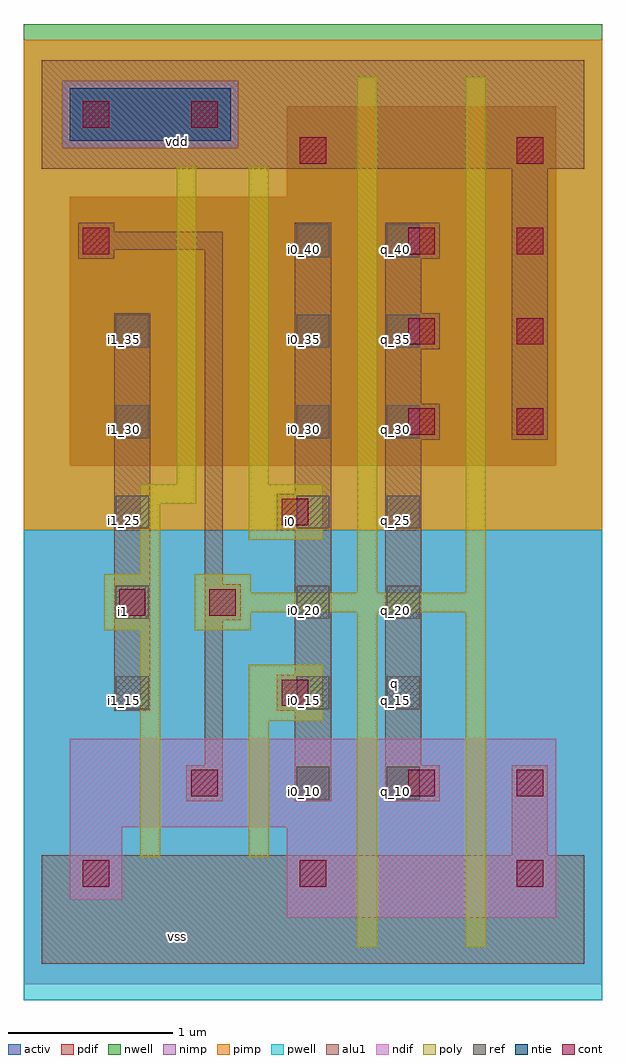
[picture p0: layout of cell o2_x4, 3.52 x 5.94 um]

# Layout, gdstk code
import gdstk
lib = gdstk.Library(unit=1e-6, precision=2.5e-09)
def R(c, l, rs):  # rectangles x0, y0, x1, y1
    for r in rs: c.add(gdstk.rectangle(r[:2], r[2:], *l))
def A(c, l, x, y, w, h, nx, ny, dx, dy):  # array of equal rectangles
    R(c, l, [(x+i*dx, y+j*dy, x+i*dx+w, y+j*dy+h) for i in range(nx) for j in range(ny)])
ndif = (3, 0)
pdif = (4, 0)
ntie = (5, 0)
ref = (24, 0)
cont = (25, 0)
pwell = (41, 0)
nwell = (42, 0)
activ = (43, 0)
pimp = (44, 0)
nimp = (45, 0)
poly = (46, 0)
alu1 = (49, 0)

o2_x4 = lib.new_cell('o2_x4')
R(o2_x4, ndif, [(1.49,0.28,3.13,0.83), (1.49,0.28,3.13,0.83), (0.17,0.39,0.49,0.83), (0.17,0.39,0.49,0.83), (0.17,0.83,3.13,1.37), (0.17,0.83,3.13,1.37)])
R(o2_x4, pdif, [(0.17,3.03,3.13,4.67), (0.17,3.03,3.13,4.67), (1.49,4.67,3.13,5.22), (1.49,4.67,3.13,5.22)])
R(o2_x4, ntie, [(0.17,5.01,1.15,5.33), (0.17,5.01,1.15,5.33)])
A(o2_x4, ref, 1.55, 1, 0.2, 0.2, 1, 7, 0, 0.55)
A(o2_x4, ref, 2.1, 1, 0.2, 0.2, 1, 7, 0, 0.55)
A(o2_x4, ref, 0.45, 1.55, 0.2, 0.2, 1, 5, 0, 0.55)
A(o2_x4, cont, 0.25, 0.47, 0.16, 0.16, 3, 1, 1.32, 0)
A(o2_x4, cont, 2.23, 3.22, 0.16, 0.16, 1, 3, 0, 0.55)
A(o2_x4, cont, 2.89, 3.22, 0.16, 0.16, 1, 4, 0, 0.55)
R(o2_x4, cont, [(0.91,1.02,1.07,1.18), (2.23,1.02,2.39,1.18), (2.89,1.02,3.05,1.18), (1.46,1.57,1.62,1.73), (0.47,2.12,0.63,2.28), (1.02,2.12,1.18,2.28), (1.46,2.67,1.62,2.83), (0.25,4.32,0.41,4.48), (1.57,4.87,1.73,5.03), (0.25,5.09,0.41,5.25), (0.91,5.09,1.07,5.25)])
R(o2_x4, pwell, [(-0.11,-0.22,3.41,2.64)])
R(o2_x4, nwell, [(-0.11,2.64,3.41,5.72)])
R(o2_x4, activ, [(1.49,0.28,3.13,0.83), (1.49,0.28,3.13,0.83), (0.17,0.39,0.49,0.83), (0.17,0.39,0.49,0.83), (0.17,0.83,3.13,1.37), (0.17,0.83,3.13,1.37), (0.17,3.03,3.13,4.67), (0.17,3.03,3.13,4.67), (1.49,4.67,3.13,5.22), (1.49,4.67,3.13,5.22), (0.17,5.01,1.15,5.33), (0.17,5.01,1.15,5.33)])
R(o2_x4, pimp, [(-0.11,2.64,3.41,4.965), (-0.11,4.965,0.125,5.375), (1.195,4.965,3.41,5.375), (-0.11,5.375,3.41,5.625)])
R(o2_x4, nimp, [(-0.11,-0.125,3.41,2.64), (0.125,4.965,1.195,5.375)])
R(o2_x4, poly, [(1.92,0.1,2.04,2.14), (2.58,0.1,2.7,2.14), (0.6,0.65,0.72,2.03), (1.26,0.65,1.38,1.48), (1.26,1.48,1.71,1.82), (0.38,2.03,0.72,2.37), (0.93,2.03,1.27,2.14), (0.93,2.14,2.7,2.26), (0.93,2.26,1.27,2.37), (1.92,2.26,2.04,5.4), (2.58,2.26,2.7,5.4), (0.6,2.37,0.72,2.8), (1.26,2.58,1.71,2.92), (0.6,2.8,0.94,2.92), (0.82,2.92,0.94,4.85), (1.26,2.92,1.38,4.85)])
A(o2_x4, alu1, 2.09, 3.19, 0.33, 0.22, 1, 3, 0, 0.55)
R(o2_x4, alu1, [(0,0,3.3,0.66), (2.86,0.66,3.08,1.21), (0.88,0.99,1.1,1.21), (1.54,0.99,1.76,1.54), (2.09,0.99,2.42,1.21), (0.99,1.21,1.1,2.09), (2.09,1.21,2.31,3.19), (0.44,1.54,0.66,3.96), (1.43,1.54,1.76,1.76), (1.54,1.76,1.76,2.64), (0.99,2.09,1.21,2.31), (0.99,2.31,1.1,4.345), (1.43,2.64,1.76,2.86), (1.54,2.86,1.76,4.51), (2.86,3.19,3.08,4.84), (2.09,3.41,2.31,3.74), (2.09,3.96,2.31,4.29), (0.22,4.29,0.44,4.345), (0.22,4.345,1.1,4.455), (0.22,4.455,0.44,4.51), (0,4.84,3.3,5.5)])
o2_x4.add(gdstk.Label('vss', (0.825,0.165), layer=49, texttype=0))
o2_x4.add(gdstk.Label('q', (2.145,1.705), layer=49, texttype=0))
o2_x4.add(gdstk.Label('i0', (1.5125,2.695), layer=49, texttype=0))
o2_x4.add(gdstk.Label('i1', (0.495,2.145), layer=49, texttype=0))
o2_x4.add(gdstk.Label('vdd', (0.825,5.005), layer=49, texttype=0))
o2_x4.add(gdstk.Label('i1_30', (0.5,3.25), layer=24, texttype=0))
o2_x4.add(gdstk.Label('i1_35', (0.5,3.8), layer=24, texttype=0))
o2_x4.add(gdstk.Label('i1_15', (0.5,1.6), layer=24, texttype=0))
o2_x4.add(gdstk.Label('i1_20', (0.5,2.15), layer=24, texttype=0))
o2_x4.add(gdstk.Label('i1_25', (0.5,2.7), layer=24, texttype=0))
o2_x4.add(gdstk.Label('i0_10', (1.6,1.05), layer=24, texttype=0))
o2_x4.add(gdstk.Label('i0_25', (1.6,2.7), layer=24, texttype=0))
o2_x4.add(gdstk.Label('i0_30', (1.6,3.25), layer=24, texttype=0))
o2_x4.add(gdstk.Label('i0_35', (1.6,3.8), layer=24, texttype=0))
o2_x4.add(gdstk.Label('i0_40', (1.6,4.35), layer=24, texttype=0))
o2_x4.add(gdstk.Label('i0_15', (1.6,1.6), layer=24, texttype=0))
o2_x4.add(gdstk.Label('i0_20', (1.6,2.15), layer=24, texttype=0))
o2_x4.add(gdstk.Label('q_15', (2.15,1.6), layer=24, texttype=0))
o2_x4.add(gdstk.Label('q_20', (2.15,2.15), layer=24, texttype=0))
o2_x4.add(gdstk.Label('q_25', (2.15,2.7), layer=24, texttype=0))
o2_x4.add(gdstk.Label('q_30', (2.15,3.25), layer=24, texttype=0))
o2_x4.add(gdstk.Label('q_35', (2.15,3.8), layer=24, texttype=0))
o2_x4.add(gdstk.Label('q_40', (2.15,4.35), layer=24, texttype=0))
o2_x4.add(gdstk.Label('q_10', (2.15,1.05), layer=24, texttype=0))

lib.write_gds('o2_x4.gds')
